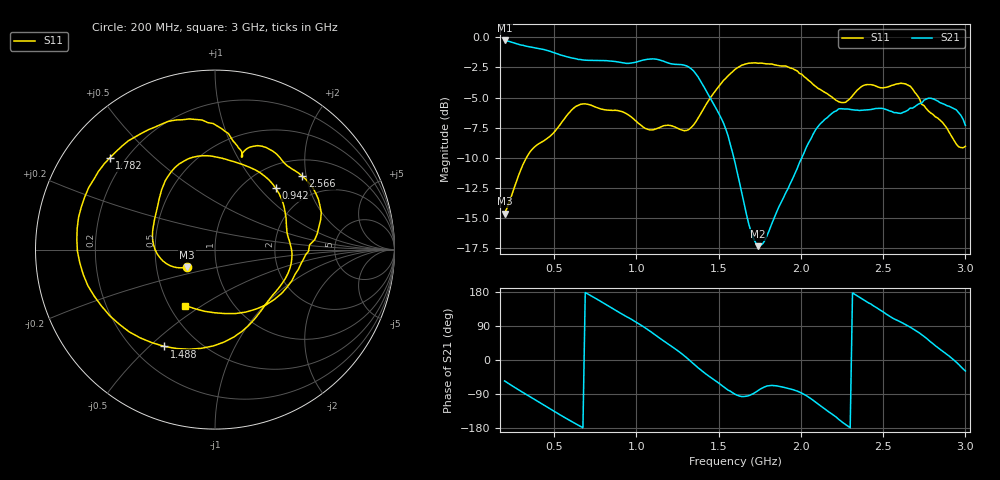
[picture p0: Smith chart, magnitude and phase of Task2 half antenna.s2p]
# HZ S RI R 50
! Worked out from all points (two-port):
!   201 points, 200 MHz to 3 GHz, reference 50 ohm
!   highest |S21| = -0.26 dB at 200 MHz (marker M1); lowest = -17.3 dB at 1.74 GHz (marker M2)
!   |S21| within 3 dB of the highest: start of sweep to 1.374 GHz
!   lowest |S11| = -14.7 dB at 200 MHz (marker M3), VSWR 1.45, Z = 35.9 - j7.36 ohm
!   |S11| at or under -10 dB: start of sweep to 332.9 MHz
!   S12 and S22 are empty: the file has one direction only
!   S11 on the Smith chart (normalised r, x): 200 MHz: 0.72, -0.15; 942 MHz: 1.39, +1.23; 1.488 GHz: 0.33, -0.56; 1.782 GHz: 0.14, +0.37; 2.566 GHz: 1.39, +1.90; 3 GHz: 0.60, -0.43
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2e8  -0.1562 -0.0991  0.5531 -0.7979  0 0  0 0
3.12e8  -0.2897 -0.0638  0.0675 -0.9246  0 0  0 0
4.1e8  -0.3473 0.1032  -0.3284 -0.8369  0 0  0 0
5.36e8  -0.3045 0.3074  -0.6901 -0.4906  0 0  0 0
6.76e8  -0.123 0.5146  -0.8053 -0.0175  0 0  0 0
8.02e8  0.105 0.49  -0.6933 0.3996  0 0  0 0
9.42e8  0.3391 0.3415  -0.3195 0.7108  0 0  0 0
1.138e9  0.4204 0.0262  0.4147 0.6922  0 0  0 0
1.32e9  0.285 -0.3012  0.7525 0.00764  0 0  0 0
1.404e9  0.1049 -0.487  0.5471 -0.3223  0 0  0 0
1.488e9  -0.282 -0.5395  0.2747 -0.4204  0 0  0 0
1.6e9  -0.7081 -0.2017  -0.00108 -0.3021  0 0  0 0
1.74e9  -0.6749 0.3916  0.0219 -0.1339  0 0  0 0
1.782e9  -0.5857 0.5115  0.0477 -0.1355  0 0  0 0
1.922e9  -0.2157 0.7224  0.0611 -0.2271  0 0  0 0
2.076e9  0.0849 0.6305  -0.1139 -0.3809  0 0  0 0
2.286e9  0.1484 0.5267  -0.5016 -0.0478  0 0  0 0
2.538e9  0.4452 0.4397  -0.2164 0.4453  0 0  0 0
2.566e9  0.4866 0.4081  -0.1565 0.461  0 0  0 0
2.72e9  0.5554 0.0547  0.1683 0.5035  0 0  0 0
2.832e9  0.4286 -0.173  0.4562 0.2961  0 0  0 0
3e9  -0.1653 -0.3116  0.3772 -0.2084  0 0  0 0
